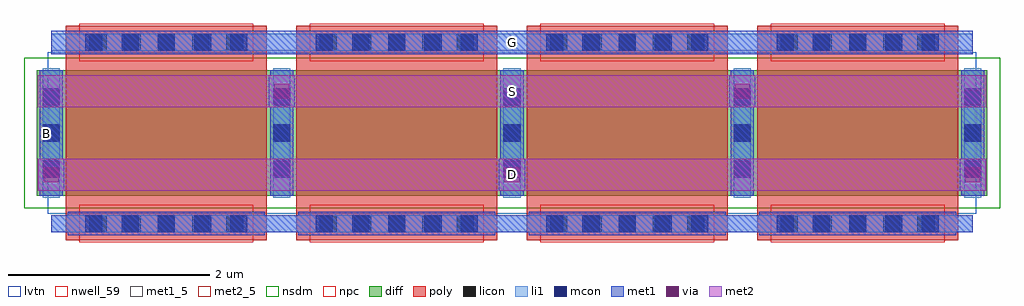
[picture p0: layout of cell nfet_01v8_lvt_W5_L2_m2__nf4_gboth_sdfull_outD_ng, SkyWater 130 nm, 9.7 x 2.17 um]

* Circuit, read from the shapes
.subckt nfet_01v8_lvt_W5_L2_m2__nf4_gboth_sdfull_outD_ng B D G S
XM1 S G D B sky130_fd_pr__nfet_01v8_lvt w=1.25 l=2 m=4
.ends

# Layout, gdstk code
import gdstk
lib = gdstk.Library(unit=1e-6, precision=1e-09)
def R(c, l, rs):  # rectangles x0, y0, x1, y1
    for r in rs: c.add(gdstk.rectangle(r[:2], r[2:], *l))
def A(c, l, x, y, w, h, nx, ny, dx, dy):  # array of equal rectangles
    R(c, l, [(x+i*dx, y+j*dy, x+i*dx+w, y+j*dy+h) for i in range(nx) for j in range(ny)])
nwell_59 = (64, 59)
diff = (65, 20)
poly = (66, 20)
licon = (66, 44)
li1 = (67, 20)
mcon = (67, 44)
met1_5 = (68, 5)
met1 = (68, 20)
via = (68, 44)
met2_5 = (69, 5)
met2 = (69, 20)
nsdm = (93, 44)
npc = (95, 20)
lvtn = (125, 44)

sky130_fd_pr__nfet_01v8_ = lib.new_cell('sky130_fd_pr__nfet_01v8_lvt_84BK47')
R(sky130_fd_pr__nfet_01v8_, diff, [(-4.725,-0.625,4.725,0.625)])
A(sky130_fd_pr__nfet_01v8_, poly, -4.435, -1.065, 2, 2.13, 4, 1, 2.29, 0)
A(sky130_fd_pr__nfet_01v8_, licon, -4.2, -0.985, 0.17, 0.17, 5, 2, 0.34, 1.8)
A(sky130_fd_pr__nfet_01v8_, licon, -1.91, -0.985, 0.17, 0.17, 5, 2, 0.34, 1.8)
A(sky130_fd_pr__nfet_01v8_, licon, 0.38, -0.985, 0.17, 0.17, 5, 2, 0.34, 1.8)
A(sky130_fd_pr__nfet_01v8_, licon, 2.67, -0.985, 0.17, 0.17, 5, 2, 0.34, 1.8)
A(sky130_fd_pr__nfet_01v8_, licon, -4.665, -0.425, 0.17, 0.17, 5, 3, 2.29, 0.34)
A(sky130_fd_pr__nfet_01v8_, li1, -4.665, -0.645, 0.17, 1.29, 5, 1, 2.29, 0)
R(sky130_fd_pr__nfet_01v8_, li1, [(-4.58,-0.985,4.58,-0.815), (-4.58,0.815,4.58,0.985)])
A(sky130_fd_pr__nfet_01v8_, mcon, -4.24, -0.985, 0.17, 0.17, 5, 2, 0.36, 1.8)
A(sky130_fd_pr__nfet_01v8_, mcon, -1.95, -0.985, 0.17, 0.17, 5, 2, 0.36, 1.8)
A(sky130_fd_pr__nfet_01v8_, mcon, 0.34, -0.985, 0.17, 0.17, 5, 2, 0.36, 1.8)
A(sky130_fd_pr__nfet_01v8_, mcon, 2.63, -0.985, 0.17, 0.17, 5, 2, 0.36, 1.8)
A(sky130_fd_pr__nfet_01v8_, mcon, -4.665, -0.445, 0.17, 0.17, 5, 3, 2.29, 0.36)
A(sky130_fd_pr__nfet_01v8_, met1, -4.415, -1.015, 1.96, 0.03, 4, 2, 2.29, 0.2)
A(sky130_fd_pr__nfet_01v8_, met1, -4.695, -0.625, 0.23, 1.25, 5, 1, 2.29, 0)
A(sky130_fd_pr__nfet_01v8_, met1, -4.415, 0.785, 1.96, 0.03, 4, 2, 2.29, 0.2)
R(sky130_fd_pr__nfet_01v8_, met1, [(-4.58,-0.985,4.58,-0.815), (-4.58,0.815,4.58,0.985)])
R(sky130_fd_pr__nfet_01v8_, nsdm, [(-4.85,-0.75,4.85,0.75)])
A(sky130_fd_pr__nfet_01v8_, npc, -4.3, -1.085, 1.73, 0.37, 4, 2, 2.29, 1.8)
R(sky130_fd_pr__nfet_01v8_, lvtn, [(-4.615,-0.805,4.615,0.805)])
sky130_fd_pr__nfet_01v8_.add(gdstk.Label('D0', (-4.58,0), layer=67, texttype=5))
sky130_fd_pr__nfet_01v8_.add(gdstk.Label('G', (3.435,0.9), layer=67, texttype=5))
sky130_fd_pr__nfet_01v8_.add(gdstk.Label('G', (1.145,0.9), layer=67, texttype=5))
sky130_fd_pr__nfet_01v8_.add(gdstk.Label('G', (-1.145,0.9), layer=67, texttype=5))
sky130_fd_pr__nfet_01v8_.add(gdstk.Label('G', (-3.435,0.9), layer=67, texttype=5))
sky130_fd_pr__nfet_01v8_.add(gdstk.Label('S1', (-2.29,0), layer=67, texttype=5))
sky130_fd_pr__nfet_01v8_.add(gdstk.Label('D2', (0,0), layer=67, texttype=5))
sky130_fd_pr__nfet_01v8_.add(gdstk.Label('S3', (2.29,0), layer=67, texttype=5))

nfet_01v8_lvt_w5_l2_m2__ = lib.new_cell('nfet_01v8_lvt_W5_L2_m2__nf4_gboth_sdfull_outD_ng')
R(nfet_01v8_lvt_w5_l2_m2__, nwell_59, [(0.05,1.015,0.15,1.115)])
R(nfet_01v8_lvt_w5_l2_m2__, met1_5, [(0.145,1.85,9.305,2.08)])
A(nfet_01v8_lvt_w5_l2_m2__, met1, 0.015, 0.49, 0.26, 0.32, 3, 1, 4.58, 0)
R(nfet_01v8_lvt_w5_l2_m2__, met1, [(2.305,1.32,2.565,1.64), (6.885,1.32,7.145,1.64), (0.145,1.85,9.305,2.08)])
A(nfet_01v8_lvt_w5_l2_m2__, via, 0.07, 0.575, 0.15, 0.15, 3, 1, 4.58, 0)
R(nfet_01v8_lvt_w5_l2_m2__, via, [(2.36,1.405,2.51,1.555), (6.94,1.405,7.09,1.555)])
R(nfet_01v8_lvt_w5_l2_m2__, met2_5, [(0.01,0.49,9.44,0.81), (0.01,1.32,9.44,1.64)])
R(nfet_01v8_lvt_w5_l2_m2__, met2, [(0.01,0.49,9.44,0.81), (0.01,1.32,9.44,1.64)])
nfet_01v8_lvt_w5_l2_m2__.add(gdstk.Reference(sky130_fd_pr__nfet_01v8_, (4.725,1.065)))
nfet_01v8_lvt_w5_l2_m2__.add(gdstk.Label('S', (4.725,1.48), layer=69, texttype=5))
nfet_01v8_lvt_w5_l2_m2__.add(gdstk.Label('D', (4.725,0.65), layer=69, texttype=5))
nfet_01v8_lvt_w5_l2_m2__.add(gdstk.Label('G', (4.725,1.965), layer=68, texttype=5))
nfet_01v8_lvt_w5_l2_m2__.add(gdstk.Label('B', (0.1,1.065), layer=64, texttype=59))

lib.write_gds('nfet_01v8_lvt_W5_L2_m2__nf4_gboth_sdfull_outD_ng.gds')
